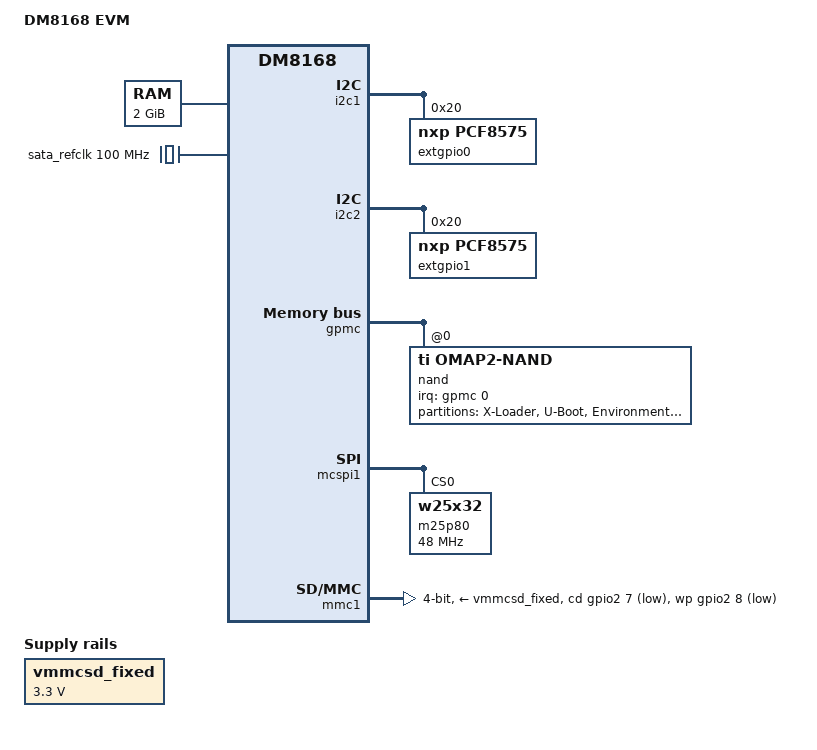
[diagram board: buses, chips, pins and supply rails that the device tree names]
/*
 * This program is free software; you can redistribute it and/or modify
 * it under the terms of the GNU General Public License version 2 as
 * published by the Free Software Foundation.
 */
/dts-v1/;

#include "dm816x.dtsi"
#include <dt-bindings/interrupt-controller/irq.h>

/ {
	model = "DM8168 EVM";
	compatible = "ti,dm8168-evm", "ti,dm8168";

	memory@80000000 {
		device_type = "memory";
		reg = <0x80000000 0x40000000	/* 1 GB */
		       0xc0000000 0x40000000>;	/* 1 GB */
	};

	/* FDC6331L controlled by SD_POW pin */
	vmmcsd_fixed: fixedregulator0 {
		compatible = "regulator-fixed";
		regulator-name = "vmmcsd_fixed";
		regulator-min-microvolt = <3300000>;
		regulator-max-microvolt = <3300000>;
	};

	sata_refclk: fixedclock0 {
		compatible = "fixed-clock";
		#clock-cells = <0>;
		clock-frequency = <100000000>;
	};
};

&dm816x_pinmux {
	mcspi1_pins: pinmux_mcspi1_pins {
		pinctrl-single,pins = <
			DM816X_IOPAD(0x0a94, MUX_MODE0)			/* SPI_SCLK */
			DM816X_IOPAD(0x0a98, MUX_MODE0)			/* SPI_SCS0 */
			DM816X_IOPAD(0x0aa8, MUX_MODE0)			/* SPI_D0 */
			DM816X_IOPAD(0x0aac, MUX_MODE0)			/* SPI_D1 */
		>;
	};

	mmc_pins: pinmux_mmc_pins {
		pinctrl-single,pins = <
			DM816X_IOPAD(0x0a70, MUX_MODE0)			/* SD_POW */
			DM816X_IOPAD(0x0a74, MUX_MODE0)			/* SD_CLK */
			DM816X_IOPAD(0x0a78, MUX_MODE0)			/* SD_CMD */
			DM816X_IOPAD(0x0a7C, MUX_MODE0)			/* SD_DAT0 */
			DM816X_IOPAD(0x0a80, MUX_MODE0)			/* SD_DAT1 */
			DM816X_IOPAD(0x0a84, MUX_MODE0)			/* SD_DAT2 */
			DM816X_IOPAD(0x0a88, MUX_MODE0)			/* SD_DAT2 */
			DM816X_IOPAD(0x0a8c, MUX_MODE2)			/* GP1[7] */
			DM816X_IOPAD(0x0a90, MUX_MODE2)			/* GP1[8] */
		>;
	};

	usb0_pins: pinmux_usb0_pins {
		pinctrl-single,pins = <
			DM816X_IOPAD(0x0d04, MUX_MODE0)			/* USB0_DRVVBUS */
		>;
	};

	usb1_pins: pinmux_usb1_pins {
		pinctrl-single,pins = <
			DM816X_IOPAD(0x0d08, MUX_MODE0)			/* USB1_DRVVBUS */
		>;
	};
};

&i2c1 {
	extgpio0: pcf8575@20 {
		compatible = "nxp,pcf8575";
		reg = <0x20>;
		gpio-controller;
		#gpio-cells = <2>;
	};
};

&i2c2 {
	extgpio1: pcf8575@20 {
		compatible = "nxp,pcf8575";
		reg = <0x20>;
		gpio-controller;
		#gpio-cells = <2>;
	};
};

&gpmc {
	ranges = <0 0 0x04000000 0x01000000>;	/* CS0: 16MB for NAND */

	nand@0,0 {
		compatible = "ti,omap2-nand";
		linux,mtd-name= "micron,mt29f2g16aadwp";
		reg = <0 0 4>; /* CS0, offset 0, IO size 4 */
		interrupt-parent = <&gpmc>;
		interrupts = <0 IRQ_TYPE_NONE>, /* fifoevent */
			     <1 IRQ_TYPE_NONE>; /* termcount */
		#address-cells = <1>;
		#size-cells = <1>;
		ti,nand-ecc-opt = "bch8";
		nand-bus-width = <16>;
		gpmc,device-width = <2>;
		gpmc,sync-clk-ps = <0>;
		gpmc,cs-on-ns = <0>;
		gpmc,cs-rd-off-ns = <44>;
		gpmc,cs-wr-off-ns = <44>;
		gpmc,adv-on-ns = <6>;
		gpmc,adv-rd-off-ns = <34>;
		gpmc,adv-wr-off-ns = <44>;
		gpmc,we-on-ns = <0>;
		gpmc,we-off-ns = <40>;
		gpmc,oe-on-ns = <0>;
		gpmc,oe-off-ns = <54>;
		gpmc,access-ns = <64>;
		gpmc,rd-cycle-ns = <82>;
		gpmc,wr-cycle-ns = <82>;
		gpmc,bus-turnaround-ns = <0>;
		gpmc,cycle2cycle-delay-ns = <0>;
		gpmc,clk-activation-ns = <0>;
		gpmc,wr-access-ns = <40>;
		gpmc,wr-data-mux-bus-ns = <0>;
		partition@0 {
			label = "X-Loader";
			reg = <0 0x80000>;
		};
		partition@0x80000 {
			label = "U-Boot";
			reg = <0x80000 0x1c0000>;
		};
		partition@0x1c0000 {
			label = "Environment";
			reg = <0x240000 0x40000>;
		};
		partition@0x280000 {
			label = "Kernel";
			reg = <0x280000 0x500000>;
		};
		partition@0x780000 {
			label = "Filesystem";
			reg = <0x780000 0xf880000>;
		};
	};
};

&mcspi1 {
	pinctrl-names = "default";
	pinctrl-0 = <&mcspi1_pins>;

	m25p80@0 {
		compatible = "w25x32";
		spi-max-frequency = <48000000>;
		reg = <0>;
		#address-cells = <1>;
		#size-cells = <1>;
	};
};

&mmc1 {
	pinctrl-names = "default";
	pinctrl-0 = <&mmc_pins>;
	vmmc-supply = <&vmmcsd_fixed>;
	bus-width = <4>;
	cd-gpios = <&gpio2 7 GPIO_ACTIVE_LOW>;
	wp-gpios = <&gpio2 8 GPIO_ACTIVE_LOW>;
};

/* At least dm8168-evm rev c won't support multipoint, later may */
&usb0 {
	pinctrl-names = "default";
	pinctrl-0 = <&usb0_pins>;
	mentor,multipoint = <0>;
};

&usb1 {
	pinctrl-names = "default";
	pinctrl-0 = <&usb1_pins>;
	mentor,multipoint = <0>;
};

&sata {
	clocks = <&sysclk5_ck>, <&sata_refclk>;
};
